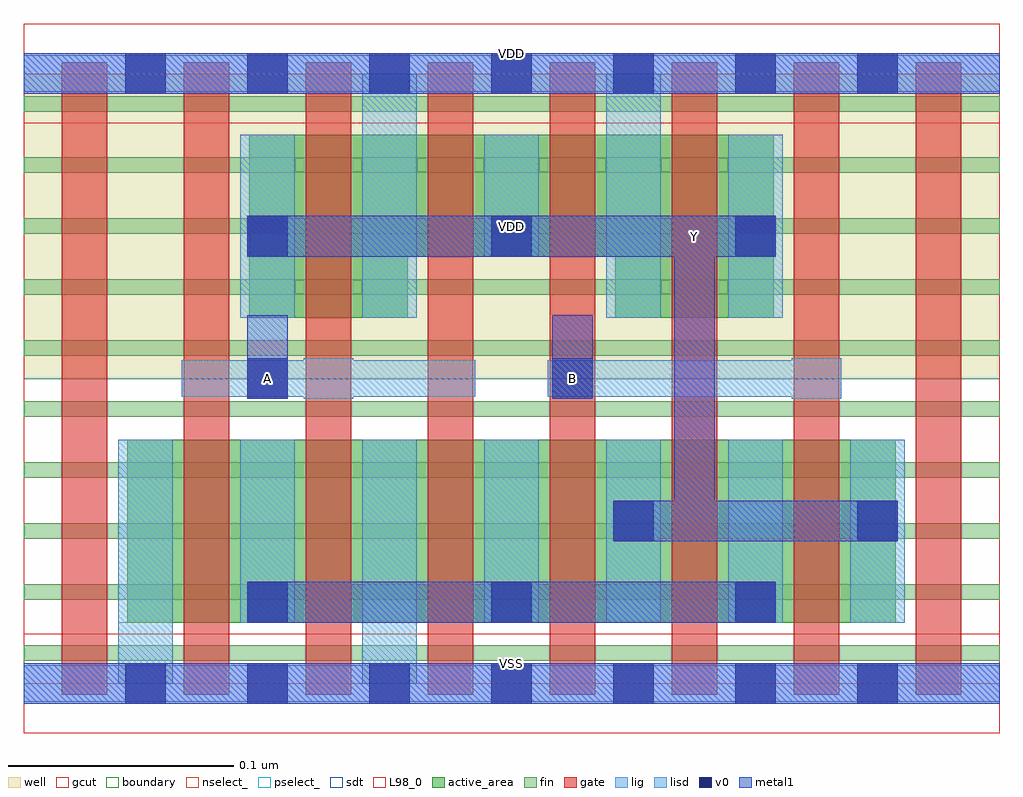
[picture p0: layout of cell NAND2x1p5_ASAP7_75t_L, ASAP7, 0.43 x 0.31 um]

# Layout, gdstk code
import gdstk
lib = gdstk.Library(unit=1e-6, precision=2.5e-10)
def R(c, l, rs):  # rectangles x0, y0, x1, y1
    for r in rs: c.add(gdstk.rectangle(r[:2], r[2:], *l))
def A(c, l, x, y, w, h, nx, ny, dx, dy):  # array of equal rectangles
    R(c, l, [(x+i*dx, y+j*dy, x+i*dx+w, y+j*dy+h) for i in range(nx) for j in range(ny)])
def P(c, l, *ps):  # polygons
    for p in ps: c.add(gdstk.Polygon(p, *l))
well = (1, 0)
fin = (2, 0)
gate = (7, 0)
gcut = (10, 0)
active_area = (11, 0)
nselect_ = (12, 0)
pselect_ = (13, 0)
lig = (16, 0)
lisd = (17, 0)
v0 = (18, 0)
metal1 = (19, 0)
sdt = (88, 0)
L98_0 = (98, 0)
boundary = (100, 0)

nand2x1p5_asap7_75t_l = lib.new_cell('NAND2x1p5_ASAP7_75t_L')
R(nand2x1p5_asap7_75t_l, well, [(0,0.135,0.432,0.27)])
A(nand2x1p5_asap7_75t_l, fin, 0, 0.01, 0.432, 0.007, 1, 10, 0, 0.027)
A(nand2x1p5_asap7_75t_l, gate, 0.017, -0.005, 0.02, 0.28, 8, 1, 0.054, 0)
R(nand2x1p5_asap7_75t_l, gcut, [(0,-0.022,0.432,0.022), (0,0.248,0.432,0.292)])
R(nand2x1p5_asap7_75t_l, active_area, [(0.046,0.027,0.386,0.108)])
P(nand2x1p5_asap7_75t_l, active_area, [(0.1,0.162),(0.17,0.162),(0.17,0.189),(0.262,0.189),(0.262,0.162),(0.332,0.162),(0.332,0.243),(0.1,0.243)])
R(nand2x1p5_asap7_75t_l, nselect_, [(0,0,0.432,0.135)])
R(nand2x1p5_asap7_75t_l, pselect_, [(0,0.135,0.432,0.27)])
R(nand2x1p5_asap7_75t_l, lig, [(0,-0.008,0.432,0.008), (0.124,0.126,0.146,0.144), (0.34,0.126,0.362,0.144), (0.07,0.127,0.2,0.143), (0.232,0.127,0.362,0.143), (0,0.262,0.432,0.278)])
A(nand2x1p5_asap7_75t_l, lisd, 0.204, 0.027, 0.024, 0.081, 4, 1, 0.054, 0)
R(nand2x1p5_asap7_75t_l, lisd, [(0.042,0,0.066,0.108), (0.042,0,0.066,0.108), (0.15,0,0.174,0.108), (0.15,0,0.174,0.108), (0.096,0.027,0.12,0.108), (0.096,0.162,0.12,0.243), (0.15,0.162,0.174,0.27), (0.15,0.162,0.174,0.27), (0.258,0.162,0.282,0.27), (0.258,0.162,0.282,0.27), (0.312,0.162,0.336,0.243), (0.204,0.189,0.228,0.243)])
A(nand2x1p5_asap7_75t_l, v0, 0.045, -0.009, 0.018, 0.018, 7, 2, 0.054, 0.27)
A(nand2x1p5_asap7_75t_l, v0, 0.099, 0.027, 0.018, 0.018, 3, 2, 0.108, 0.162)
R(nand2x1p5_asap7_75t_l, v0, [(0.261,0.063,0.279,0.081), (0.369,0.063,0.387,0.081), (0.099,0.126,0.117,0.144), (0.234,0.126,0.252,0.144)])
A(nand2x1p5_asap7_75t_l, metal1, 0.099, 0.027, 0.018, 0.018, 3, 2, 0.108, 0.162)
R(nand2x1p5_asap7_75t_l, metal1, [(0,-0.009,0.432,0.009), (0.099,0.027,0.333,0.045), (0.261,0.063,0.279,0.081), (0.369,0.063,0.387,0.081), (0.099,0.126,0.117,0.144), (0.099,0.126,0.117,0.163), (0.234,0.126,0.252,0.144), (0.234,0.126,0.252,0.163), (0,0.261,0.432,0.279)])
P(nand2x1p5_asap7_75t_l, metal1, [(0.306,0.189),(0.333,0.189),(0.333,0.207),(0.099,0.207),(0.099,0.189),(0.288,0.189),(0.288,0.081),(0.261,0.081),(0.261,0.063),(0.387,0.063),(0.387,0.081),(0.306,0.081)])
A(nand2x1p5_asap7_75t_l, sdt, 0.042, 0.027, 0.024, 0.081, 3, 1, 0.054, 0)
A(nand2x1p5_asap7_75t_l, sdt, 0.15, 0.027, 0.024, 0.081, 5, 1, 0.054, 0)
R(nand2x1p5_asap7_75t_l, sdt, [(0.042,0.027,0.066,0.108), (0.096,0.162,0.12,0.243), (0.15,0.162,0.174,0.243), (0.15,0.162,0.174,0.243), (0.258,0.162,0.282,0.243), (0.258,0.162,0.282,0.243), (0.312,0.162,0.336,0.243), (0.204,0.189,0.228,0.243)])
R(nand2x1p5_asap7_75t_l, L98_0, [(0,0,0.432,0.27)])
R(nand2x1p5_asap7_75t_l, boundary, [(0,0,0.432,0.27)])
nand2x1p5_asap7_75t_l.add(gdstk.Label('VDD', (0.216,0.2025), layer=1, texttype=251))
nand2x1p5_asap7_75t_l.add(gdstk.Label('VSS', (0.216,-0.0675), layer=3, texttype=251))
nand2x1p5_asap7_75t_l.add(gdstk.Label('VSS', (0.216,0.009), layer=19, texttype=251))
nand2x1p5_asap7_75t_l.add(gdstk.Label('VDD', (0.216,0.279), layer=19, texttype=251))
nand2x1p5_asap7_75t_l.add(gdstk.Label('A', (0.108,0.135), layer=19, texttype=251))
nand2x1p5_asap7_75t_l.add(gdstk.Label('Y', (0.297,0.198), layer=19, texttype=251))
nand2x1p5_asap7_75t_l.add(gdstk.Label('B', (0.243,0.135), layer=19, texttype=251))

lib.write_gds('NAND2x1p5_ASAP7_75t_L.gds')
